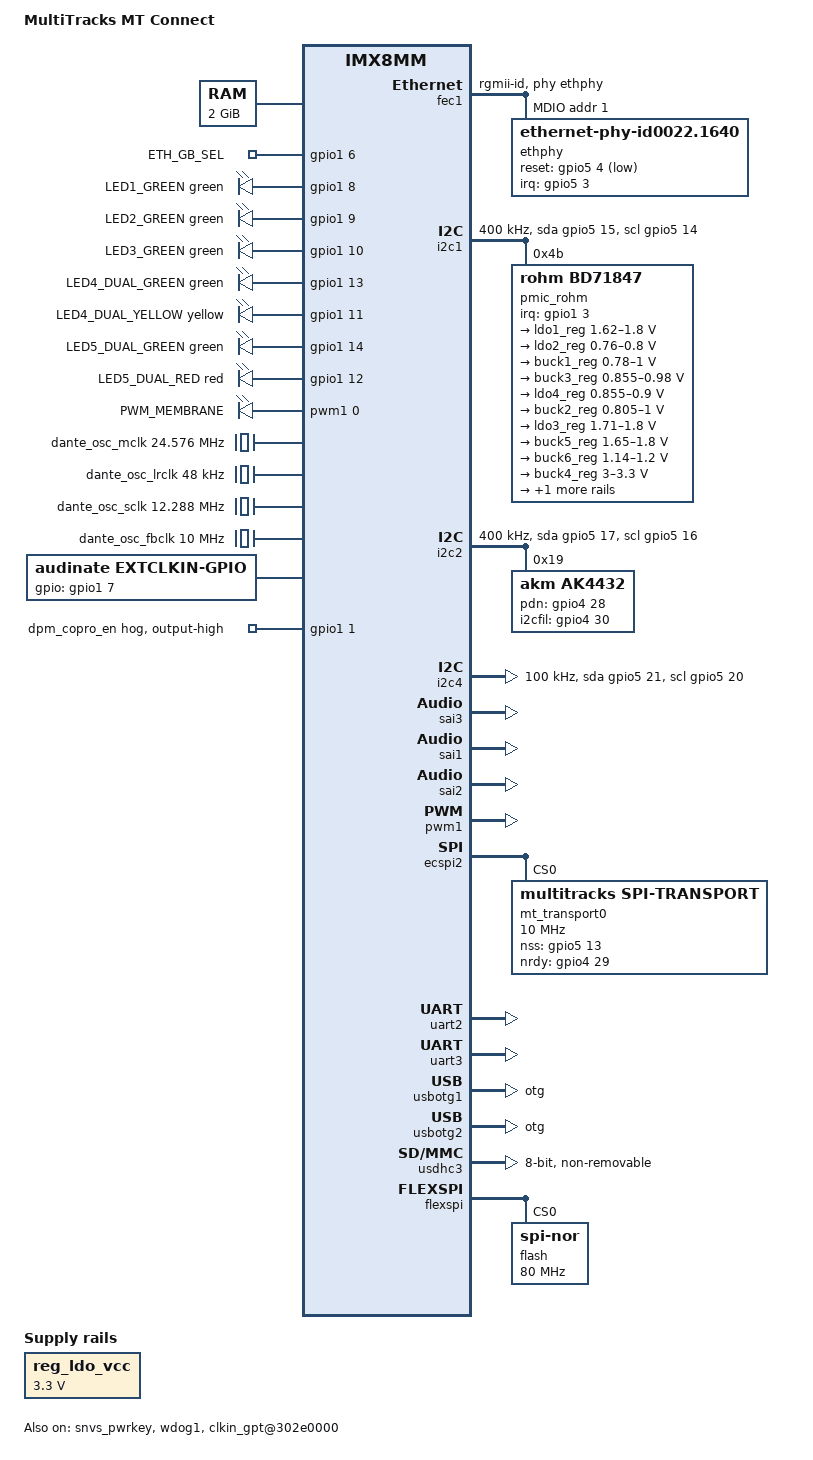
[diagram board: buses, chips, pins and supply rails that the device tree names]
// SPDX-License-Identifier: GPL-2.0+
/*
* Copyright 2020 NXP
*/

/dts-v1/;

#include <dt-bindings/clock/imx8mm-clock.h>
#include <dt-bindings/leds/common.h>
#include <dt-bindings/usb/pd.h>
#include "imx8mm.dtsi"

/ {
	model = "MultiTracks MT Connect";
	compatible = "fsl,imx8mm-mt-connect";
	chosen {
		stdout-path = &uart2;
	};

	aliases {
		mmc0 = &usdhc3;
	};

	memory@40000000 {
		device_type = "memory";
		reg = <0x0 0x40000000 0 0x80000000>;
	};

	reserved-memory {
		#address-cells = <2>;
		#size-cells = <2>;
		ranges;

		/* Coretx-M4 will use TCM section (Tightly Coupled Memory) being much faster than DRAM */
		/* 128 kB for Text */
		cortex_m4_text: m4@7E0000 {
			reg = <0 0x7E0000 0 0x20000>;
			no-map;
		};

		/* 128 kB for Data */
		cortex_m4_data: m4@800000 {
			reg = <0 0x800000 0 0x20000>;
			no-map;
		};
	};

	reg_ldo_vcc: regulator-ldo-vcc {
		compatible = "regulator-fixed";
		regulator-name = "ldo_vcc_3v3";
		regulator-min-microvolt = <3300000>;
		regulator-max-microvolt = <3300000>;
	};

	leds {
		compatible = "gpio-leds";
		pinctrl-names = "default";
		pinctrl-0 = <&pinctrl_gpio_led>;

		led-1 {
			label = "ETH_GB_SEL";
			gpios = <&gpio1 6 GPIO_ACTIVE_HIGH>;
		};

		led-2 {
			label = "LED1_GREEN";
			color = <LED_COLOR_ID_GREEN>;
			gpios = <&gpio1 8 GPIO_ACTIVE_HIGH>;
		};

		led-3 {
			label = "LED2_GREEN";
			color = <LED_COLOR_ID_GREEN>;
			gpios = <&gpio1 9 GPIO_ACTIVE_HIGH>;
		};

		led-4 {
			label = "LED3_GREEN";
			color = <LED_COLOR_ID_GREEN>;
			gpios = <&gpio1 10 GPIO_ACTIVE_HIGH>;
		};

		led-5 {
			label = "LED4_DUAL_GREEN";
			color = <LED_COLOR_ID_GREEN>;
			gpios = <&gpio1 13 GPIO_ACTIVE_HIGH>;
		};

		led-6 {
			label = "LED4_DUAL_YELLOW";
			color = <LED_COLOR_ID_YELLOW>;
			gpios = <&gpio1 11 GPIO_ACTIVE_HIGH>;
		};

		led-7 {
			label = "LED5_DUAL_GREEN";
			color = <LED_COLOR_ID_GREEN>;
			gpios = <&gpio1 14 GPIO_ACTIVE_HIGH>;
		};

		led-8 {
			label = "LED5_DUAL_RED";
			color = <LED_COLOR_ID_RED>;
			gpios = <&gpio1 12 GPIO_ACTIVE_HIGH>;
		};
	};

	pwm-leds {
		compatible = "pwm-leds";

		led-1 {
			label = "PWM_MEMBRANE";
			function = LED_FUNCTION_STATUS;
			max-brightness = <248>;
			pwms = <&pwm1 0 50000 0>;
		};
	};

	dante_osc_mclk: dante-osc-mclk {
		compatible = "fixed-clock";
		#clock-cells = <0>;
		clock-frequency = <24576000>;
		clock-output-names = "dante_osc_mclk";
	};

	dante_osc_lrclk: dante-osc-lrclk {
		compatible = "fixed-clock";
		#clock-cells = <0>;
		clock-frequency = <48000>;
		clock-output-names = "dante_osc_lrclk";
	};

	dante_osc_sclk: dante-osc-sclk {
		compatible = "fixed-clock";
		#clock-cells = <0>;
		clock-frequency = <12288000>;
		clock-output-names = "dante_osc_sclk";
	};

	dante_osc_fbclk: dante-osc-fbclk {
		compatible = "fixed-clock";
		#clock-cells = <0>;
		clock-frequency = <10000000>;
		clock-output-names = "dante_osc_fbclk";
	};

	sound_interprocessor {
		compatible = "fsl,imx-audio-card";
		model = "imx-audio-card";
		pri-dai-link {
			link-name = "interproc audio";
			format = "dsp_b";
			dai-tdm-slot-num = <8>;
			dai-tdm-slot-width = <32>;
			fsl,mclk-equal-bclk;
			cpu {
				sound-dai = <&sai1>;
			};
		};
	};

	sound_Headphone {
		compatible = "fsl,imx-audio-card";
		model = "ak4432-audio";
		pri-dai-link {
			link-name = "Headphone audio";
			format = "dsp_b";
			dai-tdm-slot-num = <2>;
			dai-tdm-slot-width = <32>;
			fsl,mclk-equal-bclk;
			cpu {
				sound-dai = <&sai3>;
			};
			codec {
				sound-dai = <&ak4432>;
			};
		};
	};
};

&soc {
	clkin_gpt@302e0000 {
		compatible = "audinate,extclkin-gpt";
		pinctrl-names = "default";
		pinctrl-0 = <&pinctrl_fbclk>;
		reg = <0x302e0000 0x10000>;
		clocks = <&dante_osc_fbclk>;
		clock-names = "gpt_clk";
		status = "okay";
	};

	extclkin-gpio {
		compatible = "audinate,extclkin-gpio";
		pinctrl-names = "default";
		pinctrl-0 = <&pinctrl_lrclk_gpio>;
		gpios = <&gpio1 7 GPIO_ACTIVE_HIGH>;
		status = "okay";
	};
};

&a53_opp_table {

	opp-1200000000 {
		/delete-property/ opp-supported-hw;
	};

	opp-1600000000 {
		/delete-property/ opp-supported-hw;
	};

	opp-1800000000 {
		/delete-property/ opp-supported-hw;
	};
};

&A53_0 {
	cpu-supply = <&buck2_reg>;
};

&A53_1 {
	cpu-supply = <&buck2_reg>;
};

&A53_2 {
	cpu-supply = <&buck2_reg>;
};

&A53_3 {
	cpu-supply = <&buck2_reg>;
};


&fec1 {
	pinctrl-names = "default";
	pinctrl-0 = <&pinctrl_fec1>;
	phy-mode = "rgmii-id";
	phy-handle = <&ethphy>;
	status = "okay";

	mdio {
		#address-cells = <1>;
		#size-cells = <0>;

		ethphy: ethernet-phy@1 {
			compatible = "ethernet-phy-id0022.1640",
			"ethernet-phy-ieee802.3-c22";
			pinctrl-0 = <&pinctrl_ethphy>;
			pinctrl-names = "default";
			interrupt-parent = <&gpio5>;
			interrupts = <3 IRQ_TYPE_LEVEL_LOW>;
			reg = <1>;
			reset-gpios = <&gpio5 4 GPIO_ACTIVE_LOW>;
			reset-assert-us = <1000>; /*1 ms reset pulse*/
			reset-deassert-us = <30000>; /*30 ms bootup*/
			status = "okay";
		};
	};
};

&i2c1 {
	clock-frequency = <400000>;
	pinctrl-names = "default", "gpio";
	pinctrl-0 = <&pinctrl_i2c1>;
	pinctrl-1 = <&pinctrl_i2c1_gpio>;
	scl-gpios = <&gpio5 14 (GPIO_ACTIVE_HIGH | GPIO_OPEN_DRAIN)>;
	sda-gpios = <&gpio5 15 (GPIO_ACTIVE_HIGH | GPIO_OPEN_DRAIN)>;
	status = "okay";

	pmic_rohm: pmic@4b {
		compatible = "rohm,bd71847";
		reg = <0x4b>;
		pinctrl-0 = <&pinctrl_pmic>;
		pinctrl-names = "default";
		interrupt-parent = <&gpio1>;
		interrupts = <3 IRQ_TYPE_LEVEL_LOW>;
		rohm,reset-snvs-powered;

		#clock-cells = <0>;
		clocks = <&osc_32k 0>;
		clock-output-names = "clk-32k-out";

		regulators {

			ldo1_reg: LDO1 {
				regulator-name = "LDO1";
				regulator-min-microvolt = <1620000>;
				regulator-max-microvolt = <1800000>;
				regulator-boot-on;
				regulator-always-on;
			};

			ldo2_reg: LDO2 {
				regulator-name = "LDO2";
				regulator-min-microvolt = <760000>;
				regulator-max-microvolt = <800000>;
				regulator-boot-on;
				regulator-always-on;
			};

			buck1_reg: BUCK1 {
				regulator-name = "BUCK1";
				regulator-min-microvolt = <780000>;
				regulator-max-microvolt = <1000000>;
				regulator-boot-on;
				regulator-always-on;
				regulator-ramp-delay = <1250>;
			};

			buck3_reg: BUCK3 {
				// BUCK5 in datasheet
				regulator-name = "BUCK3";
				regulator-min-microvolt = <855000>;
				regulator-max-microvolt = <980000>;
				regulator-boot-on;
				regulator-always-on;
				regulator-ramp-delay = <1250>;
				rohm,dvs-run-voltage =  <900000>;
				rohm,dvs-idle-voltage = <900000>;
			};

			ldo4_reg: LDO4 {
				regulator-name = "LDO4";
				regulator-min-microvolt = <855000>;
				regulator-max-microvolt = <900000>;
				regulator-boot-on;
				regulator-always-on;
			};

			buck2_reg: BUCK2 {
				regulator-name = "BUCK2";
				regulator-min-microvolt = <805000>;
				regulator-max-microvolt = <1000000>;
				regulator-boot-on;
				regulator-always-on;
				regulator-ramp-delay = <1250>;
				rohm,dvs-run-voltage =  <900000>;
				rohm,dvs-idle-voltage = <900000>;
			};

			ldo3_reg: LDO3 {
				regulator-name = "LDO3";
				regulator-min-microvolt = <1710000>;
				regulator-max-microvolt = <1800000>;
				regulator-boot-on;
				regulator-always-on;
			};

			buck5_reg: BUCK5 {
				// BUCK7 in datasheet
				regulator-name = "BUCK5";
				regulator-min-microvolt = <1650000>;
				regulator-max-microvolt = <1800000>;
				regulator-boot-on;
				regulator-always-on;
			};

			buck6_reg: BUCK6 {
				// BUCK8 in datasheet
				regulator-name = "BUCK6";
				regulator-min-microvolt = <1140000>;
				regulator-max-microvolt = <1200000>;
				regulator-boot-on;
				regulator-always-on;
			};

			buck4_reg: BUCK4 {
				// BUCK6 in datasheet
				regulator-name = "BUCK4";
				regulator-min-microvolt = <3000000>;
				regulator-max-microvolt = <3300000>;
				regulator-boot-on;
				regulator-always-on;
			};

			ldo6_reg: LDO6 {
				regulator-name = "LDO6";
				regulator-min-microvolt = <1140000>;
				regulator-max-microvolt = <1200000>;
				regulator-boot-on;
				regulator-always-on;
			};
		};
	};
};

&i2c2 {
	clock-frequency = <400000>;
	pinctrl-names = "default", "gpio";
	pinctrl-0 = <&pinctrl_i2c2>;
	pinctrl-1 = <&pinctrl_i2c2_gpio>;
	scl-gpios = <&gpio5 16 (GPIO_ACTIVE_HIGH | GPIO_OPEN_DRAIN)>;
	sda-gpios = <&gpio5 17 (GPIO_ACTIVE_HIGH | GPIO_OPEN_DRAIN)>;
	status = "okay";

	ak4432: ak4432@19 {
		pinctrl-names = "default";
		pinctrl-0 = <&pinctrl_reg_hp_dac>;
		#sound-dai-cells = <0>;
		sound-name-prefix = "0";
		compatible = "akm,ak4432";
		reg = <0x19>;
		ak4432,pdn-gpio = <&gpio4 28 GPIO_ACTIVE_HIGH>;
		ak4432,i2cfil-gpio = <&gpio4 30 GPIO_ACTIVE_HIGH>;
		status = "okay";
	};
};

&gpio1 {
	gpio-line-names = "", "DPM_COPRO_EN", "", "", "", "", "ETH_GB_SEL", "",
	"LED1_GREEN", "LED2_GREEN", "LED3_GREEN", "LED4_DUAL_YELLOW", "LED5_DUAL_RED", "LED4_DUAL_GREEN", "LED5_DUAL_GREEN", "",
	"", "", "", "", "", "", "", "",
	"", "", "", "", "", "", "", "";
	dpm_copro_en {
		gpio-hog;
		gpios = <1 GPIO_ACTIVE_HIGH>;
		output-high;
	};
};

&gpio2 {
	gpio-line-names = "", "", "", "", "", "", "", "",
	"", "", "", "", "", "", "", "",
	"", "", "", "", "", "", "", "",
	"", "", "", "", "", "", "", "";
};

&gpio3 {
	gpio-line-names = "", "", "", "", "", "", "", "",
	"", "", "", "", "", "", "", "",
	"", "", "", "", "", "", "", "",
	"", "", "", "", "", "", "", "";
};

&gpio4 {
	gpio-line-names = "", "", "BRIDGE_RXD0", "BRIDGE_RXD1", "S_BRIDGE_RXD2", "S_BRIDGE_RXD3", "", "",
	"", "", "BRIDGE_LRCLK", "BRIDGE_BCLK", "BRIDGE_TXD0", "BRIDGE_TXD1", "S_BRIDGE_TXD2", "S_BRIDGE_TXD3",
	"", "", "", "", "", "", "", "",
	"", "", "", "", "HP_DAC_PDN_N", "SPI2_INT", "HP_DAC_I2CFIL", "DPM_HP_DAC_LRCK";
};

&gpio5 {
	gpio-line-names = "DPM_HP_DAC_BCLK", "DPM_HP_DAC_SD", "DPM_HP_DAC_MCLK", "", "", "PWM_MEMBRANE", "", "",
	"", "", "SPI2_SCK", "SPI2_MOSI", "SPI2_MISO", "SPI2_NSS", "", "",
	"DPM_I2C2_SCL", "DPM_I2C2_SDA", "", "", "DPM_I2C4_SCL", "DPM_I2C4_SDA", "", "",
	"DPM_CONSOLE_RX", "DPM_CONSOLE_TX", "DPM_DEBUG_RX", "DPM_DEBUG_TX", "", "", "", "";
};

&i2c4 {
	clock-frequency = <100000>;
	pinctrl-names = "default", "gpio";
	pinctrl-0 = <&pinctrl_i2c4>;
	pinctrl-1 = <&pinctrl_i2c4_gpio>;
	scl-gpios = <&gpio5 20 (GPIO_ACTIVE_HIGH | GPIO_OPEN_DRAIN)>;
	sda-gpios = <&gpio5 21 (GPIO_ACTIVE_HIGH | GPIO_OPEN_DRAIN)>;
	status = "okay";
};

&sai3 {
	pinctrl-names = "default";
	pinctrl-0 = <&pinctrl_sai3>;
	clocks = <&clk IMX8MM_CLK_SAI3_IPG>, <&clk IMX8MM_CLK_DUMMY>,
	<&dante_osc_mclk>,
	<&clk IMX8MM_CLK_DUMMY>, <&clk IMX8MM_CLK_DUMMY>;
	clock-names = "bus", "mclk0", "mclk1", "mclk2", "mclk3";
	fsl,dataline = <1 0x00 0x01>; /*I2S mode enabled, 0 RX lines, 1 TX lines*/
	fsl,txs-rxs;
	status = "okay";
};

&sai1 {
	pinctrl-names = "default";
	pinctrl-0 = <&pinctrl_sai1>;
	clocks = <&clk IMX8MM_CLK_SAI1_IPG>, <&clk IMX8MM_CLK_DUMMY>,
	<&dante_osc_mclk>,
	<&clk IMX8MM_CLK_DUMMY>, <&clk IMX8MM_CLK_DUMMY>;
	clock-names = "bus", "mclk0", "mclk1", "mclk2", "mclk3";
	fsl,dataline = <1 0x0F 0x0F>; /*I2S mode enabled, 4 RX lines, 4 TX lines*/
	fsl,txs-rxs;
	fsl,sai-multi-lane;
	status = "okay";
};

/*
 * SAI2 TXFS/TXC share the Dante clock bus with SAI1 and SAI3; no data lines
 * are used. fsl,dataline must be present even with zero lanes -- without it
 * fsl_sai_read_dlcfg calls devm_kzalloc(0) which returns ZERO_SIZE_PTR and
 * immediately crashes on the first cfg[0] write.
 */
&sai2 {
	pinctrl-names = "default";
	pinctrl-0 = <&pinctrl_sai2>;
	clocks = <&clk IMX8MM_CLK_SAI2_IPG>, <&clk IMX8MM_CLK_DUMMY>,
	<&dante_osc_mclk>,
	<&clk IMX8MM_CLK_DUMMY>, <&clk IMX8MM_CLK_DUMMY>;
	clock-names = "bus", "mclk0", "mclk1", "mclk2", "mclk3";
	fsl,dataline = <1 0x00 0x00>; /* no RX or TX data lines */
	fsl,txs-rxs;
	status = "okay";
};

&snvs_pwrkey {
	status = "okay";
};

&pwm1 {
	pinctrl-names = "default";
	pinctrl-0 = <&pinctrl_pwm_led>;
	status = "okay";
};

/* MT-159369: binds the MultiTracks SPI transport driver (Host role),
 * porting the binding already hardware-validated on imx8mm-evk-spi-transport.dts
 * (MT-158113) back to this production board -- same NSS/NRDY pins
 * (GPIO5_IO13 / GPIO4_IO29, this board's own SPI2_NSS / SPI2_INT pin
 * names, per the gpio5/gpio4 gpio-line-names above), same reasoning for
 * multitracks,nss-gpios replacing cs-gpios (the transport protocol holds
 * NSS low across a multi-step request/ack/clock/complete cycle, not just
 * one SPI transfer, so the driver must own and drive it directly rather
 * than let the SPI core auto-toggle it per-message) and for declaring
 * both driver-private GPIOs GPIO_ACTIVE_HIGH regardless of physical wire
 * polarity (see drivers/spi/spi-mt-transport/spi_transport_hw_linux.c).
 * pinctrl_ecspi2 below already covers both the NSS and INT pin muxes on
 * this board (unlike the EVK, which needed separate overlay-added
 * groups), so no pinctrl changes are needed here.
 */
&ecspi2 {
	status = "okay";
	pinctrl-names = "default";
	pinctrl-0 = <&pinctrl_ecspi2>;

	mt_transport0: spi@0 {
		compatible = "multitracks,spi-transport";
		reg = <0>;
		spi-max-frequency = <10000000>;

		multitracks,nss-gpios = <&gpio5 13 GPIO_ACTIVE_HIGH>;
		multitracks,nrdy-gpios = <&gpio4 29 GPIO_ACTIVE_HIGH>;
	};
};

&uart2 { /* console */
	pinctrl-names = "default";
	pinctrl-0 = <&pinctrl_uart2>;
	status = "okay";
};

&uart3 { /* debug */
	pinctrl-names = "default";
	pinctrl-0 = <&pinctrl_uart3>;
	status = "okay";
};

&usbotg1 {
	hnp-disable;
	srp-disable;
	adp-disable;
	samsung,picophy-pre-emp-curr-control = <3>;
	samsung,picophy-dc-vol-level-adjust = <7>;
	dr_mode = "otg";
	usb-role-switch;
	role-switch-default-mode = "host";
	disable-over-current;
	status = "okay";
};

&usbotg2 {
	hnp-disable;
	srp-disable;
	adp-disable;
	samsung,picophy-pre-emp-curr-control = <3>;
	samsung,picophy-dc-vol-level-adjust = <7>;
	dr_mode = "otg";
	usb-role-switch;
	role-switch-default-mode = "host";
	disable-over-current;
	status = "okay";
};

&usdhc3 {
	assigned-clocks = <&clk IMX8MM_CLK_USDHC3_ROOT>;
	assigned-clock-rates = <400000000>;
	pinctrl-names = "default", "state_100mhz", "state_200mhz";
	pinctrl-0 = <&pinctrl_usdhc3>;
	pinctrl-1 = <&pinctrl_usdhc3_100mhz>;
	pinctrl-2 = <&pinctrl_usdhc3_200mhz>;
	bus-width = <8>;
	non-removable;
	status = "okay";
};

&wdog1 {
	pinctrl-names = "default";
	pinctrl-0 = <&pinctrl_wdog>;
	fsl,ext-reset-output;
	status = "okay";
};

&flexspi {
	pinctrl-names = "default";
	pinctrl-0 = <&pinctrl_flexspi>;
	status = "okay";

	flash@0 {
		reg = <0>;
		#address-cells = <1>;
		#size-cells = <1>;
		compatible = "jedec,spi-nor";
		spi-max-frequency = <80000000>;
		spi-tx-bus-width = <1>;
		spi-rx-bus-width = <4>;
	};
};

&iomuxc {
	pinctrl_fec1: fec1grp {
		fsl,pins = <
		MX8MM_IOMUXC_ENET_MDC_ENET1_MDC				0x3
		MX8MM_IOMUXC_ENET_MDIO_ENET1_MDIO			0x3
		MX8MM_IOMUXC_ENET_RD0_ENET1_RGMII_RD0		0x91
		MX8MM_IOMUXC_ENET_RD1_ENET1_RGMII_RD1		0x91
		MX8MM_IOMUXC_ENET_RD2_ENET1_RGMII_RD2		0x91
		MX8MM_IOMUXC_ENET_RD3_ENET1_RGMII_RD3		0x91
		MX8MM_IOMUXC_ENET_RXC_ENET1_RGMII_RXC		0x91
		MX8MM_IOMUXC_ENET_RX_CTL_ENET1_RGMII_RX_CTL	0x91
		MX8MM_IOMUXC_ENET_TD0_ENET1_RGMII_TD0		0x1f
		MX8MM_IOMUXC_ENET_TD1_ENET1_RGMII_TD1		0x1f
		MX8MM_IOMUXC_ENET_TD2_ENET1_RGMII_TD2		0x1f
		MX8MM_IOMUXC_ENET_TD3_ENET1_RGMII_TD3		0x1f
		MX8MM_IOMUXC_ENET_TXC_ENET1_RGMII_TXC		0x1f
		MX8MM_IOMUXC_ENET_TX_CTL_ENET1_RGMII_TX_CTL	0x1f
		>;
	};

	pinctrl_ethphy: dhcom-ethphy-grp {
		fsl,pins = <
		MX8MM_IOMUXC_SPDIF_TX_GPIO5_IO3				0x1c4
		MX8MM_IOMUXC_SPDIF_RX_GPIO5_IO4				0x1c4
		>;
	};

	pinctrl_fbclk: fbclk-grp {
		fsl,pins = <
		MX8MM_IOMUXC_I2C3_SCL_GPT2_CLK				0x80
		>;
	};

	pinctrl_lrclk_gpio: lrclk-gpio-grp {
		fsl,pins = <
		MX8MM_IOMUXC_GPIO1_IO07_GPIO1_IO7			0x4f
		>;
	};

	pinctrl_ir: irgrp {
		fsl,pins = <
		MX8MM_IOMUXC_GPIO1_IO13_GPIO1_IO13			0x4f
		>;
	};

	pinctrl_i2c1: i2c1grp {
		fsl,pins = <
		MX8MM_IOMUXC_I2C1_SCL_I2C1_SCL				0x400001c3
		MX8MM_IOMUXC_I2C1_SDA_I2C1_SDA				0x400001c3
		>;
	};

	pinctrl_i2c2: i2c2grp {
		fsl,pins = <
		MX8MM_IOMUXC_I2C2_SCL_I2C2_SCL				0x400001c3
		MX8MM_IOMUXC_I2C2_SDA_I2C2_SDA				0x400001c3
		>;
	};

	pinctrl_i2c4: i2c4grp {
		fsl,pins = <
		MX8MM_IOMUXC_I2C4_SCL_I2C4_SCL				0x400001c3
		MX8MM_IOMUXC_I2C4_SDA_I2C4_SDA				0x400001c3
		>;
	};

	pinctrl_i2c1_gpio: i2c1-gpiogrp {
		fsl,pins = <
		MX8MM_IOMUXC_I2C1_SCL_GPIO5_IO14			0x1c3
		MX8MM_IOMUXC_I2C1_SDA_GPIO5_IO15			0x1c3
		>;
	};

	pinctrl_i2c2_gpio: i2c2-gpiogrp {
		fsl,pins = <
		MX8MM_IOMUXC_I2C2_SCL_GPIO5_IO16			0x1c3
		MX8MM_IOMUXC_I2C2_SDA_GPIO5_IO17			0x1c3
		>;
	};

	pinctrl_i2c4_gpio: i2c4-gpiogrp {
		fsl,pins = <
		MX8MM_IOMUXC_I2C4_SCL_GPIO5_IO20			0x1c3
		MX8MM_IOMUXC_I2C4_SDA_GPIO5_IO21			0x1c3
		>;
	};

	pinctrl_pmic: pmicirqgrp {
		fsl,pins = <
		MX8MM_IOMUXC_GPIO1_IO03_GPIO1_IO3			0x141
		>;
	};

	pinctrl_sai1: sai1grp {
		fsl,pins = <
		MX8MM_IOMUXC_SAI1_TXFS_SAI1_TX_SYNC		0x80
		MX8MM_IOMUXC_SAI1_TXC_SAI1_TX_BCLK		0x80
		MX8MM_IOMUXC_SAI1_TXD0_SAI1_TX_DATA0	0xd6
		MX8MM_IOMUXC_SAI1_TXD1_SAI1_TX_DATA1	0xd6
		MX8MM_IOMUXC_SAI1_TXD2_SAI1_TX_DATA2	0xd6
		MX8MM_IOMUXC_SAI1_TXD3_SAI1_TX_DATA3	0xd6
		MX8MM_IOMUXC_SAI1_RXD0_SAI1_RX_DATA0	0xd6
		MX8MM_IOMUXC_SAI1_RXD1_SAI1_RX_DATA1	0xd6
		MX8MM_IOMUXC_SAI1_RXD2_SAI1_RX_DATA2	0xd6
		MX8MM_IOMUXC_SAI1_RXD3_SAI1_RX_DATA3	0xd6
		>;
	};

	pinctrl_sai2: sai2grp {
		fsl,pins = <
		MX8MM_IOMUXC_SAI2_TXFS_SAI2_TX_SYNC		0x80 /* Dante LRCLK shared bus */
		MX8MM_IOMUXC_SAI2_TXC_SAI2_TX_BCLK		0x80 /* Dante BCLK shared bus */
		>;
	};

	pinctrl_sai3: sai3grp {
		fsl,pins = <
		MX8MM_IOMUXC_SAI3_TXC_SAI3_TX_BCLK		0x80 /* DANTE_OSC_SCLK */
		MX8MM_IOMUXC_SAI3_TXD_SAI3_TX_DATA0		0xd6 /* DPM_HP_DAC_SD */
		MX8MM_IOMUXC_SAI3_TXFS_SAI3_TX_SYNC		0x80 /* DPM_HP_DAC_LRCK */
		MX8MM_IOMUXC_SAI3_MCLK_SAI3_MCLK		0x80 /* DANTE_OSC_MCLK input */
		>;
	};

	pinctrl_reg_hp_dac: gpioreghpdac {
		fsl,pins = <
		MX8MM_IOMUXC_SAI3_RXD_GPIO4_IO30			0x106 /* HP_DAC_I2C_FIL Pull-down */
		MX8MM_IOMUXC_SAI3_RXFS_GPIO4_IO28			0x146 /* HP_DAC_PDN Pull-up */
		>;
	};

	pinctrl_typec1: typec1grp {
		fsl,pins = <
		MX8MM_IOMUXC_SD1_STROBE_GPIO2_IO11			0x159
		>;
	};

	pinctrl_uart2: uart2grp {
		fsl,pins = <
		MX8MM_IOMUXC_UART2_RXD_UART2_DCE_RX			0x140
		MX8MM_IOMUXC_UART2_TXD_UART2_DCE_TX			0x140
		>;
	};

	pinctrl_uart3: uart3grp {
		fsl,pins = <
		MX8MM_IOMUXC_ECSPI1_SCLK_UART3_DCE_RX 		0x140
		MX8MM_IOMUXC_ECSPI1_MOSI_UART3_DCE_TX		0x140
		>;
	};

	pinctrl_ecspi2: ecspi2grp {
		fsl,pins = <
		MX8MM_IOMUXC_ECSPI2_MISO_ECSPI2_MISO		0x82
		MX8MM_IOMUXC_ECSPI2_MOSI_ECSPI2_MOSI		0x82
		MX8MM_IOMUXC_ECSPI2_SCLK_ECSPI2_SCLK		0x82
		MX8MM_IOMUXC_ECSPI2_SS0_ECSPI2_SS0			0x82
		MX8MM_IOMUXC_ECSPI2_SS0_GPIO5_IO13			0x140 /* ECSPI2 NSS */
		MX8MM_IOMUXC_SAI3_RXC_GPIO4_IO29			0x82 /* ECSPI2 INT */
		>;
	};

	pinctrl_usdhc3: usdhc3grp {
		fsl,pins = <
		MX8MM_IOMUXC_NAND_WE_B_USDHC3_CLK			0x190
		MX8MM_IOMUXC_NAND_WP_B_USDHC3_CMD			0x1d0
		MX8MM_IOMUXC_NAND_DATA04_USDHC3_DATA0		0x1d0
		MX8MM_IOMUXC_NAND_DATA05_USDHC3_DATA1		0x1d0
		MX8MM_IOMUXC_NAND_DATA06_USDHC3_DATA2		0x1d0
		MX8MM_IOMUXC_NAND_DATA06_USDHC3_DATA2		0x1d0
		MX8MM_IOMUXC_NAND_DATA07_USDHC3_DATA3		0x1d0
		MX8MM_IOMUXC_NAND_RE_B_USDHC3_DATA4			0x1d0
		MX8MM_IOMUXC_NAND_CE2_B_USDHC3_DATA5		0x1d0
		MX8MM_IOMUXC_NAND_CE3_B_USDHC3_DATA6		0x1d0
		MX8MM_IOMUXC_NAND_CLE_USDHC3_DATA7			0x1d0
		MX8MM_IOMUXC_NAND_CE1_B_USDHC3_STROBE		0x190
		>;
	};

	pinctrl_usdhc3_100mhz: usdhc3-100mhzgrp {
		fsl,pins = <
		MX8MM_IOMUXC_NAND_WE_B_USDHC3_CLK			0x194
		MX8MM_IOMUXC_NAND_WP_B_USDHC3_CMD			0x1d4
		MX8MM_IOMUXC_NAND_DATA04_USDHC3_DATA0		0x1d4
		MX8MM_IOMUXC_NAND_DATA05_USDHC3_DATA1		0x1d4
		MX8MM_IOMUXC_NAND_DATA06_USDHC3_DATA2		0x1d4
		MX8MM_IOMUXC_NAND_DATA07_USDHC3_DATA3		0x1d4
		MX8MM_IOMUXC_NAND_RE_B_USDHC3_DATA4			0x1d4
		MX8MM_IOMUXC_NAND_CE2_B_USDHC3_DATA5		0x1d4
		MX8MM_IOMUXC_NAND_CE3_B_USDHC3_DATA6		0x1d4
		MX8MM_IOMUXC_NAND_CLE_USDHC3_DATA7			0x1d4
		MX8MM_IOMUXC_NAND_CE1_B_USDHC3_STROBE		0x194
		>;
	};

	pinctrl_usdhc3_200mhz: usdhc3-200mhzgrp {
		fsl,pins = <
		MX8MM_IOMUXC_NAND_WE_B_USDHC3_CLK			0x196
		MX8MM_IOMUXC_NAND_WP_B_USDHC3_CMD			0x1d6
		MX8MM_IOMUXC_NAND_DATA04_USDHC3_DATA0		0x1d6
		MX8MM_IOMUXC_NAND_DATA05_USDHC3_DATA1		0x1d6
		MX8MM_IOMUXC_NAND_DATA06_USDHC3_DATA2		0x1d6
		MX8MM_IOMUXC_NAND_DATA07_USDHC3_DATA3		0x1d6
		MX8MM_IOMUXC_NAND_RE_B_USDHC3_DATA4			0x1d6
		MX8MM_IOMUXC_NAND_CE2_B_USDHC3_DATA5		0x1d6
		MX8MM_IOMUXC_NAND_CE3_B_USDHC3_DATA6		0x1d6
		MX8MM_IOMUXC_NAND_CLE_USDHC3_DATA7			0x1d6
		MX8MM_IOMUXC_NAND_CE1_B_USDHC3_STROBE		0x196
		>;
	};

	pinctrl_wdog: wdoggrp {
		fsl,pins = <
		MX8MM_IOMUXC_GPIO1_IO02_WDOG1_WDOG_B		0x166
		>;
	};

	pinctrl_backlight: backlightgrp {
		fsl,pins = <
		MX8MM_IOMUXC_GPIO1_IO01_PWM1_OUT			0x06
		>;
	};

	pinctrl_pwm_led: pwmledgrp {
		fsl,pins = <
		MX8MM_IOMUXC_SPDIF_EXT_CLK_PWM1_OUT			0x16
		>;
	};

	pinctrl_pwm_led: pwmledgrp {
		fsl,pins = <
		MX8MM_IOMUXC_SPDIF_EXT_CLK_PWM1_OUT			0x16
		>;
	};

	pinctrl_gpio_led: gpio-led-grp {
		fsl,pins = <
		MX8MM_IOMUXC_GPIO1_IO11_GPIO1_IO11			0x186
		>;
	};

	pinctrl_flexspi: flexspigrp {
		fsl,pins = <
		MX8MM_IOMUXC_NAND_ALE_QSPI_A_SCLK			0x1c2
		MX8MM_IOMUXC_NAND_CE0_B_QSPI_A_SS0_B		0x82
		MX8MM_IOMUXC_NAND_DATA00_QSPI_A_DATA0		0x82
		MX8MM_IOMUXC_NAND_DATA01_QSPI_A_DATA1		0x82
		MX8MM_IOMUXC_NAND_DATA02_QSPI_A_DATA2		0x82
		MX8MM_IOMUXC_NAND_DATA03_QSPI_A_DATA3		0x82
		>;
	};
};
